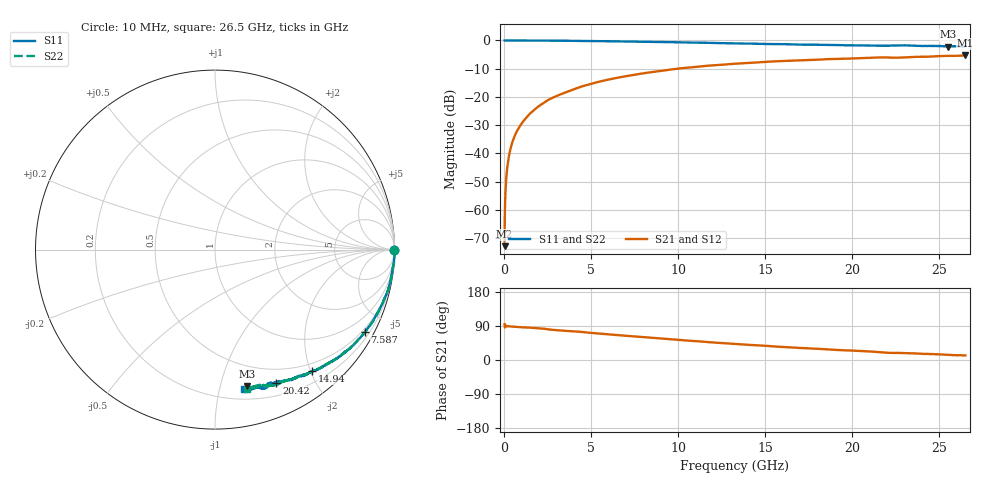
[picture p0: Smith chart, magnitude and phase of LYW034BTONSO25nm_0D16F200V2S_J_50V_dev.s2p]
!Keysight Technologies,N5222B,MY61253708,A.15.00.15
!Date: Wednesday, June 19, 2024 09:06:31
!Correction: S11(C  2-Port  )
!S21(C  2-Port  )
!S12(C  2-Port  )
!S22(C  2-Port  )
!S2P File: Measurements: S11, S21, S12, S22:
# Hz S  RI  R 50
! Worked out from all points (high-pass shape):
!   2651 points, 10 MHz to 26.5 GHz, reference 50 ohm
!   highest |S21| = -5.30 dB at 26.5 GHz (marker M1); lowest = -72.8 dB at 10 MHz (marker M2)
!   |S21| within 3 dB of the highest: 13.12 GHz to end of sweep
!   lowest |S11| = -2.1 dB at 25.5 GHz (marker M3), VSWR 8.16, Z = 15.5 - j60.8 ohm
!   |S11| at or under -10 dB: nowhere
!   |S22| runs from -2.1 to 0.0 dB; largest |S21 - S12| = 0.0075
!   S11 on the Smith chart (normalised r, x): 10 MHz: open; 7.587 GHz: 0.38, -3.87; 14.94 GHz: 0.37, -2.02; 20.42 GHz: 0.34, -1.51; 26.5 GHz: 0.29, -1.19
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1e7  0.9988 -0.00279  -1.75e-05 0.000228  -0.00035 0.000527  0.9987 -0.000787
7.997358e7  0.9998 -0.00581  3.58e-05 0.00276  6.38e-05 0.00279  0.9993 -0.00531
1.499472e8  0.9999 -0.0113  5.04e-05 0.0052  6.78e-05 0.00524  0.9995 -0.0105
1.899321e8  1 -0.0132  9.71e-05 0.00657  0.000106 0.00665  0.9997 -0.0124
2.499094e8  0.9993 -0.0179  0.000158 0.00866  0.000156 0.00871  0.9992 -0.0169
3.498717e8  0.9994 -0.0247  0.000317 0.0121  0.000301 0.0122  0.9993 -0.0237
4.698264e8  0.9988 -0.0332  0.000497 0.0163  0.000507 0.0164  0.9983 -0.032
8.096981e8  0.9978 -0.0562  0.00155 0.0279  0.00157 0.0281  0.9973 -0.0549
1.43946e9  0.9897 -0.1005  0.00379 0.0496  0.00387 0.0498  0.9923 -0.0968
2.329125e9  0.9801 -0.157  0.011 0.0811  0.0112 0.0815  0.9814 -0.1569
3.148815e9  0.9678 -0.2109  0.0224 0.1064  0.0226 0.1071  0.9693 -0.2092
4.428332e9  0.9374 -0.2892  0.042 0.147  0.0424 0.1479  0.9396 -0.2856
5.817808e9  0.8976 -0.3661  0.0732 0.184  0.0742 0.185  0.9006 -0.365
7.58714e9  0.8361 -0.4588  0.1184 0.2209  0.1196 0.2219  0.8409 -0.452
8.846664e9  0.7887 -0.5121  0.1548 0.2415  0.1562 0.2423  0.7914 -0.5093
1.3255e10  0.6068 -0.6476  0.2857 0.261  0.2877 0.261  0.6123 -0.6453
1.494436e10  0.541 -0.6783  0.3299 0.2543  0.3316 0.2542  0.5454 -0.6761
1.767333e10  0.4313 -0.7206  0.3913 0.2277  0.3945 0.2266  0.4446 -0.7181
2.042229e10  0.3425 -0.742  0.4428 0.1962  0.4457 0.1946  0.3602 -0.7429
2.209166e10  0.2974 -0.7474  0.4714 0.1622  0.473 0.1601  0.2942 -0.7542
2.550038e10  0.1797 -0.7607  0.5183 0.1232  0.5198 0.1242  0.2027 -0.7657
2.65e10  0.1621 -0.7757  0.5314 0.1125  0.5306 0.1097  0.177 -0.7759
